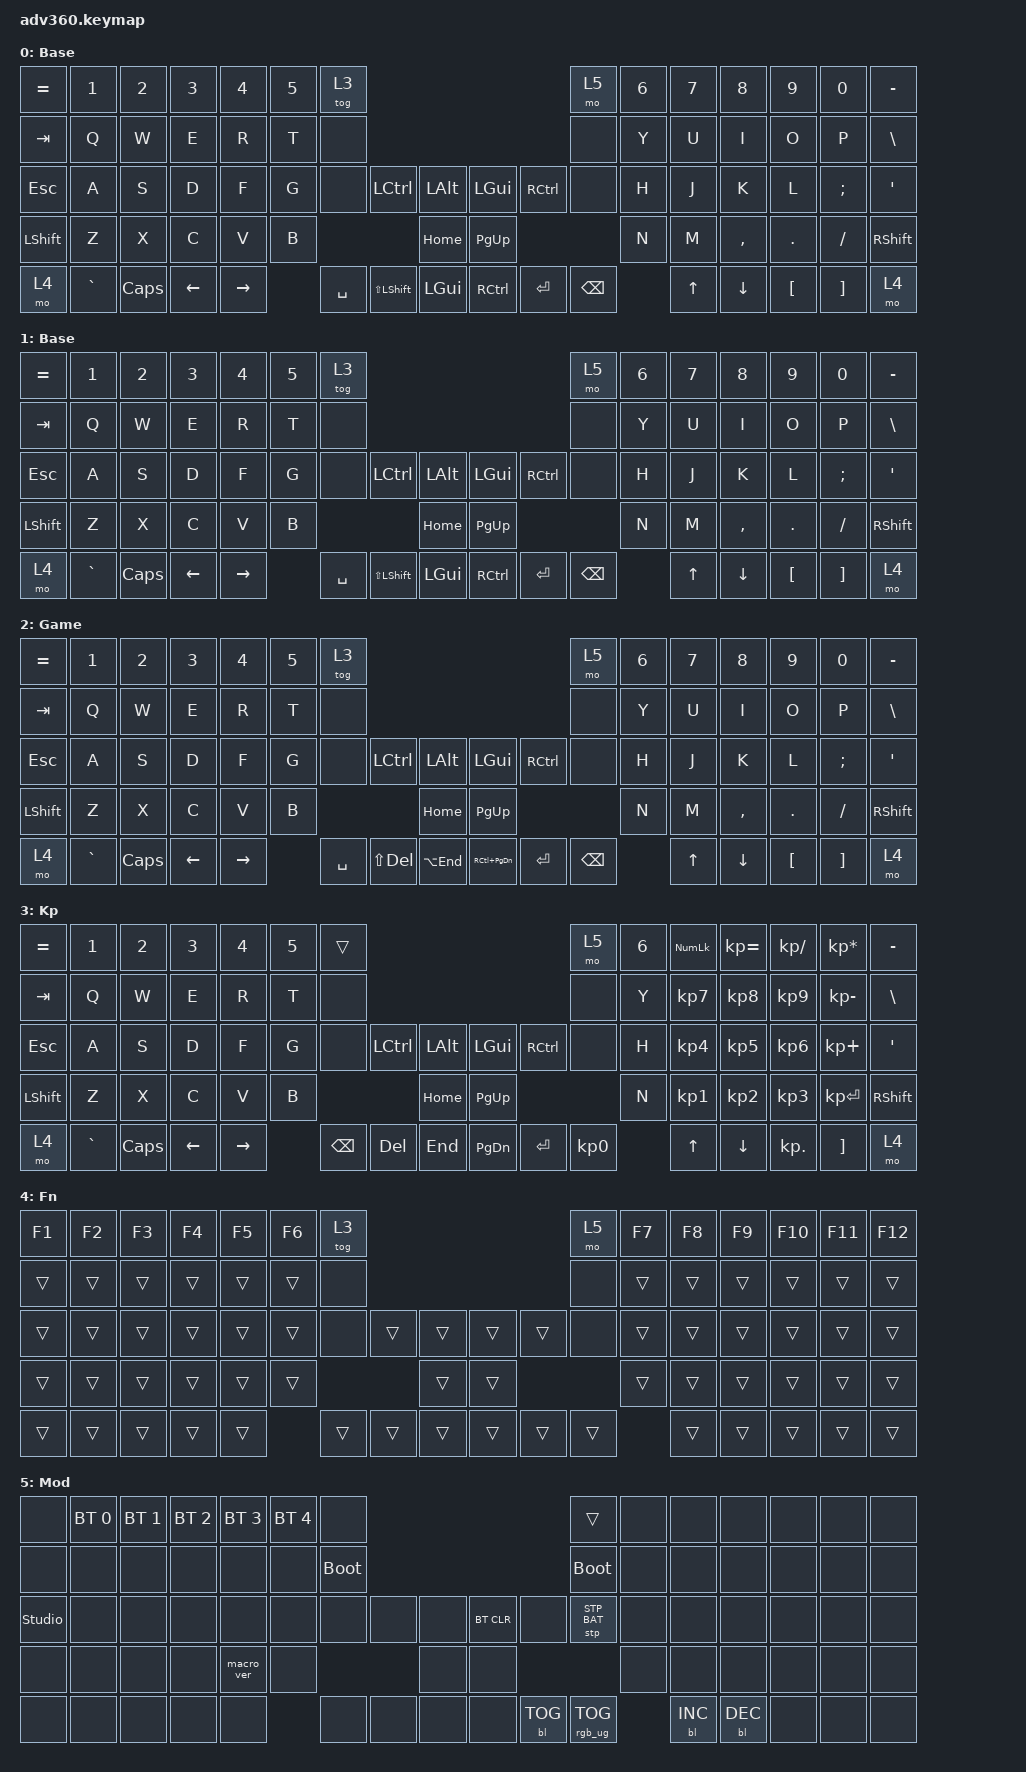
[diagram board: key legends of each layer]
#include <dt-bindings/zmk/stp.h>
#include <behaviors.dtsi>
#include <dt-bindings/zmk/backlight.h>
#include <dt-bindings/zmk/bt.h>
#include <dt-bindings/zmk/keys.h>
#include <dt-bindings/zmk/rgb.h>

/ {
    behaviors {
        #include "macros.dtsi"
      #include "version.dtsi"

        hm: homerow_mods {
            compatible = "zmk,behavior-hold-tap";
            label = "HOMEROW_MODS";
            #binding-cells = <2>;
            tapping-term-ms = <200>;
            quick_tap_ms = <175>;
            flavor = "tap-preferred";
            bindings = <&kp>, <&kp>;
        };
    };

    keymap {
        compatible = "zmk,keymap";

        default_layer {
            display-name = "Base";
            bindings = <
&kp EQUAL  &kp N1     &kp N2    &kp N3    &kp N4     &kp N5  &tog 3                                                        &mo 5          &kp N6  &kp N7  &kp N8     &kp N9    &kp N0    &kp MINUS
&kp TAB    &kp Q      &kp W     &kp E     &kp R      &kp T   &none                                                         &none          &kp Y   &kp U   &kp I      &kp O     &kp P     &kp BSLH
&kp ESC    &kp A      &kp S     &kp D     &kp F      &kp G   &none      &kp LCTRL      &kp LALT      &kp LGUI   &kp RCTRL  &none          &kp H   &kp J   &kp K      &kp L     &kp SEMI  &kp SQT
&kp LSHFT  &kp Z      &kp X     &kp C     &kp V      &kp B                             &kp HOME      &kp PG_UP                            &kp N   &kp M   &kp COMMA  &kp DOT   &kp FSLH  &kp RSHFT
&mo 4      &kp GRAVE  &kp CAPS  &kp LEFT  &kp RIGHT          &kp SPACE  &kp LS(LSHFT)  &kp LGUI      &kp RCTRL  &kp ENTER  &kp BACKSPACE          &kp UP  &kp DOWN   &kp LBKT  &kp RBKT  &mo 4
            >;
        };

        layer_1 {
            display-name = "Base";
            bindings = <
&kp EQUAL  &kp N1     &kp N2    &kp N3    &kp N4     &kp N5  &tog 3                                                        &mo 5          &kp N6  &kp N7  &kp N8     &kp N9    &kp N0    &kp MINUS
&kp TAB    &kp Q      &kp W     &kp E     &kp R      &kp T   &none                                                         &none          &kp Y   &kp U   &kp I      &kp O     &kp P     &kp BSLH
&kp ESC    &kp A      &kp S     &kp D     &kp F      &kp G   &none      &kp LCTRL      &kp LALT      &kp LGUI   &kp RCTRL  &none          &kp H   &kp J   &kp K      &kp L     &kp SEMI  &kp SQT
&kp LSHFT  &kp Z      &kp X     &kp C     &kp V      &kp B                             &kp HOME      &kp PG_UP                            &kp N   &kp M   &kp COMMA  &kp DOT   &kp FSLH  &kp RSHFT
&mo 4      &kp GRAVE  &kp CAPS  &kp LEFT  &kp RIGHT          &kp SPACE  &kp LS(LSHFT)  &kp LGUI      &kp RCTRL  &kp ENTER  &kp BACKSPACE          &kp UP  &kp DOWN   &kp LBKT  &kp RBKT  &mo 4
            >;
        };

        layer_2 {
            display-name = "Game";
            bindings = <
&kp EQUAL  &kp N1     &kp N2    &kp N3    &kp N4     &kp N5  &tog 3                                                             &mo 5          &kp N6  &kp N7  &kp N8     &kp N9    &kp N0    &kp MINUS
&kp TAB    &kp Q      &kp W     &kp E     &kp R      &kp T   &none                                                              &none          &kp Y   &kp U   &kp I      &kp O     &kp P     &kp BSLH
&kp ESC    &kp A      &kp S     &kp D     &kp F      &kp G   &none      &kp LCTRL    &kp LALT         &kp LGUI       &kp RCTRL  &none          &kp H   &kp J   &kp K      &kp L     &kp SEMI  &kp SQT
&kp LSHFT  &kp Z      &kp X     &kp C     &kp V      &kp B                           &kp HOME         &kp PG_UP                                &kp N   &kp M   &kp COMMA  &kp DOT   &kp FSLH  &kp RSHFT
&mo 4      &kp GRAVE  &kp CAPS  &kp LEFT  &kp RIGHT          &kp SPACE  &kp LS(DEL)  &kp LA(END)      &kp RC(PG_DN)  &kp ENTER  &kp BACKSPACE          &kp UP  &kp DOWN   &kp LBKT  &kp RBKT  &mo 4
            >;
        };

        keypad {
            display-name = "Kp";
            bindings = <
&kp EQUAL  &kp N1     &kp N2    &kp N3    &kp N4     &kp N5  &trans                                                   &mo 5      &kp N6  &kp KP_NUM  &kp KP_EQUAL  &kp KP_DIVIDE  &kp KP_MULTIPLY  &kp MINUS
&kp TAB    &kp Q      &kp W     &kp E     &kp R      &kp T   &none                                                    &none      &kp Y   &kp KP_N7   &kp KP_N8     &kp KP_N9      &kp KP_MINUS     &kp BSLH
&kp ESC    &kp A      &kp S     &kp D     &kp F      &kp G   &none     &kp LCTRL  &kp LALT      &kp LGUI   &kp RCTRL  &none      &kp H   &kp KP_N4   &kp KP_N5     &kp KP_N6      &kp KP_PLUS      &kp SQT
&kp LSHFT  &kp Z      &kp X     &kp C     &kp V      &kp B                        &kp HOME      &kp PG_UP                        &kp N   &kp KP_N1   &kp KP_N2     &kp KP_N3      &kp KP_ENTER     &kp RSHFT
&mo 4      &kp GRAVE  &kp CAPS  &kp LEFT  &kp RIGHT          &kp BSPC  &kp DEL    &kp END       &kp PG_DN  &kp ENTER  &kp KP_N0          &kp UP      &kp DOWN      &kp KP_DOT     &kp RBKT         &mo 4
            >;
        };

        fn {
            display-name = "Fn";
            bindings = <
&kp F1  &kp F2  &kp F3  &kp F4  &kp F5  &kp F6  &tog 3                                      &mo 5   &kp F7  &kp F8  &kp F9  &kp F10  &kp F11  &kp F12
&trans  &trans  &trans  &trans  &trans  &trans  &none                                       &none   &trans  &trans  &trans  &trans   &trans   &trans
&trans  &trans  &trans  &trans  &trans  &trans  &none   &trans  &trans      &trans  &trans  &none   &trans  &trans  &trans  &trans   &trans   &trans
&trans  &trans  &trans  &trans  &trans  &trans                  &trans      &trans                  &trans  &trans  &trans  &trans   &trans   &trans
&trans  &trans  &trans  &trans  &trans          &trans  &trans  &trans      &trans  &trans  &trans          &trans  &trans  &trans   &trans   &trans
            >;
        };

        mod {
            display-name = "Mod";
            bindings = <
&none           &bt BT_SEL 0  &bt BT_SEL 1  &bt BT_SEL 2  &bt BT_SEL 3  &bt BT_SEL 4  &none                                                  &trans           &none  &none       &none       &none  &none  &none
&none           &none         &none         &none         &none         &none         &bootloader                                            &bootloader      &none  &none       &none       &none  &none  &none
&studio_unlock  &none         &none         &none         &none         &none         &none        &none  &none      &bt BT_CLR  &none       &stp STP_BAT     &none  &none       &none       &none  &none  &none
&none           &none         &none         &none         &macro_ver    &none                             &none      &none                                    &none  &none       &none       &none  &none  &none
&none           &none         &none         &none         &none                       &none        &none  &none      &none       &bl BL_TOG  &rgb_ug RGB_TOG         &bl BL_INC  &bl BL_DEC  &none  &none  &none
            >;
        };

        extra1 {
            display-name = "Red";
            status = "reserved";
        };

        extra2 {
            display-name = "Purple";
            status = "reserved";
        };

        extra3 {
            display-name = "Cyan";
            status = "reserved";
        };

        extra4 {
            display-name = "Yellow";
            status = "reserved";
        };
    };

    conditional_layers {
        compatible = "zmk,conditional-layers";

        Game {
            if-layers = <8>;
            then-layer = <2>;
        };

        Base {
            if-layers = <0>;
            then-layer = <7>;
        };
    };
};
